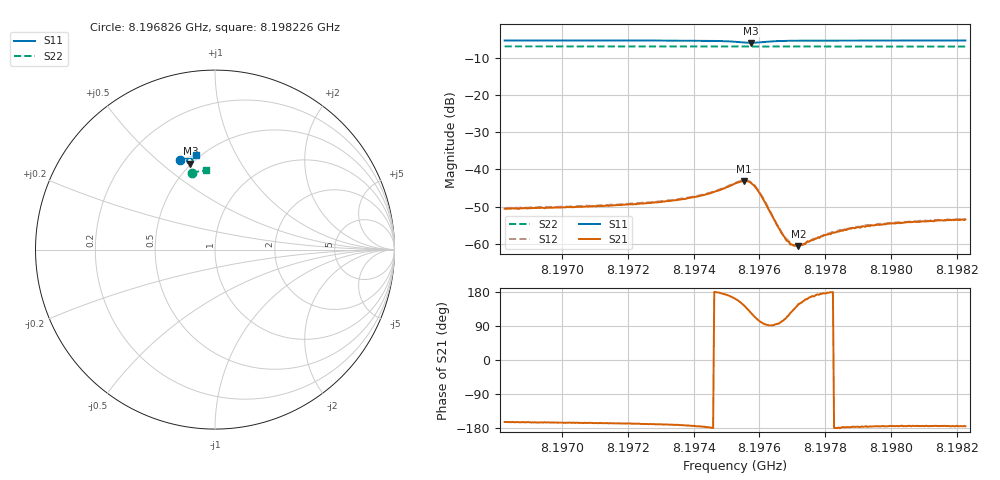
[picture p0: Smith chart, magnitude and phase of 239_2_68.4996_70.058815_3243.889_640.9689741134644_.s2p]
#  HZ  S  RI  R  50.00
! Rohde & Schwarz Vector Network Analyzer
! Rohde-Schwarz,ZNB20-2Port,1311601062101988,3.16
! Created: UTC 3/20/2024, 5:14:23 PM
! freq[Hz]  re:S11  im:S11  re:S21  im:S21  re:S12  im:S12  re:S22  im:S22
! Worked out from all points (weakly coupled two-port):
!   401 points, 8.196826 GHz to 8.198226 GHz, reference 50 ohm
!   highest |S21| = -43.10 dB at 8.197554 GHz (marker M1); lowest = -60.5 dB at 8.197718 GHz (marker M2)
!   lowest |S11| = -6.1 dB at 8.197575 GHz (marker M3), VSWR 2.98, Z = 24.7 + j31.5 ohm
!   |S11| at or under -10 dB: nowhere
!   |S22| runs from -7.1 to -7.0 dB; largest |S21 - S12| = 0.00032
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8.1968257e9  -0.1933 0.5001  -0.00284 -0.000842  -0.00294 -0.00077  -0.128 0.4279
8.1970602e9  -0.1765 0.5058  -0.00304 -0.000764  -0.00317 -0.000673  -0.115 0.4311
8.1972947e9  -0.1576 0.5107  -0.00357 -0.000652  -0.00368 -0.000528  -0.1021 0.4339
8.1974102e9  -0.1453 0.5119  -0.00428 -0.000382  -0.00437 -0.000237  -0.0956 0.4351
8.1974662e9  -0.1368 0.5106  -0.00506 5.98e-05  -0.00512 0.000252  -0.0923 0.4356
8.1975257e9  -0.1258 0.5002  -0.00614 0.00199  -0.00614 0.00226  -0.0888 0.4359
8.1975537e9  -0.1265 0.4869  -0.00562 0.00417  -0.00555 0.00447  -0.0873 0.4358
8.1975747e9  -0.1369 0.4789  -0.00363 0.00545  -0.00351 0.0057  -0.0865 0.4359
8.1975887e9  -0.1461 0.4797  -0.00205 0.0053  -0.00188 0.00553  -0.0861 0.4359
8.1976062e9  -0.1535 0.486  -0.00068 0.00431  -0.000502 0.00445  -0.0853 0.4365
8.1976587e9  -0.1536 0.5037  -0.000167 0.00162  -0.000125 0.00167  -0.0824 0.4373
8.1976762e9  -0.1516 0.5067  -0.000373 0.00118  -0.00029 0.0012  -0.0813 0.4374
8.1976867e9  -0.1502 0.5082  -0.000477 0.000973  -0.000465 0.00102  -0.0807 0.4376
8.1977007e9  -0.1484 0.5098  -0.000616 0.00074  -0.000576 0.000783  -0.0799 0.4378
8.1977112e9  -0.1471 0.5108  -0.000738 0.000626  -0.000707 0.000627  -0.0793 0.4377
8.1977182e9  -0.1462 0.5115  -0.000792 0.000506  -0.000761 0.000555  -0.0789 0.4379
8.1977357e9  -0.1443 0.5128  -0.000902 0.000393  -0.00089 0.000452  -0.078 0.4381
8.1977602e9  -0.1416 0.5142  -0.0011 0.000216  -0.0011 0.000296  -0.0766 0.4384
8.1978407e9  -0.1338 0.5174  -0.00146 -4.46e-05  -0.00149 3.37e-05  -0.0719 0.4389
8.1979247e9  -0.1265 0.5197  -0.00173 -0.000168  -0.00177 -8.11e-05  -0.0672 0.4396
8.1979947e9  -0.1209 0.5211  -0.00188 -0.000185  -0.00189 -8.46e-05  -0.0635 0.44
8.1982256e9  -0.1034 0.5249  -0.00211 -0.000187  -0.00216 -0.00011  -0.0503 0.4413
